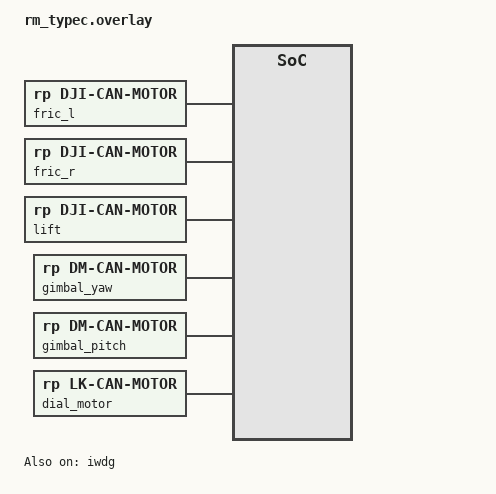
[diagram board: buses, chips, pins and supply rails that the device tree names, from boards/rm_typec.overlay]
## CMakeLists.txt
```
cmake_minimum_required(VERSION 3.24)

set(RP_PROFILE "" CACHE STRING "Conan profile used for host")

if(NOT RP_PROFILE)
    message(FATAL_ERROR "Please set RP_PROFILE in the command line, e.g. -DRP_PROFILE=stm32/stm32-h7")
endif()

find_program(CONAN_EXECUTABLE NAMES conan REQUIRED)
set(CONAN_OUTPUT_DIR "${CMAKE_BINARY_DIR}/conan")

set(CONAN_INSTALL_ARGS
    install "${CMAKE_CURRENT_SOURCE_DIR}"
    --output-folder "${CONAN_OUTPUT_DIR}"
    --profile:host "${RP_PROFILE}"
    --build=missing
)

execute_process(
    COMMAND "${CONAN_EXECUTABLE}" ${CONAN_INSTALL_ARGS}
    WORKING_DIRECTORY "${CMAKE_CURRENT_SOURCE_DIR}"
    RESULT_VARIABLE CONAN_RESULT
    OUTPUT_VARIABLE CONAN_OUTPUT
    ERROR_VARIABLE CONAN_ERROR
)

# 关键： 将conan生成的文件夹添加到CMAKE_PREFIX_PATH中，这样find_package才能找到conan安装的包
list(PREPEND CMAKE_PREFIX_PATH "${CONAN_OUTPUT_DIR}/build/RelWithDebInfo/generators")

if(NOT CONAN_RESULT EQUAL 0)
    message(FATAL_ERROR "conan install failed:\n${CONAN_ERROR}")
endif()

if(NOT BOARD)
    set(BOARD damiao_mc02)
    message("BOARD not defined, use default value: ${BOARD}")
else()
    message("Use BOARD: ${BOARD}")
endif()

# zephyr通过kconfig指定CMAKE_BUILD_TYPE，
# 但是conan在构建之处就需要指定，这里显示设置CMAKE_BUILD_TYPE为RelWithDebInfo
set(CMAKE_BUILD_TYPE RelWithDebInfo)

find_package(Zephyr REQUIRED HINTS $ENV{ZEPHYR_BASE})
find_package(rp-midware REQUIRED)

target_link_libraries(app PRIVATE rp-midware::rp-midware)

# define cmake project
project(breeze-app-template)

target_sources(app PRIVATE
    ./src/main.cpp
)
```

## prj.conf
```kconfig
# 启用传感器驱动
CONFIG_SENSOR=y
CONFIG_BMI08X=y
CONFIG_BMI08X_ACCEL_STREAM=y
CONFIG_BMI08X_GYRO_STREAM=y
# 启用遥控器驱动
CONFIG_REMOTE=y
CONFIG_UART_ASYNC_API=y
CONFIG_DCACHE=n
# 裁判系统 & UI(usart1)
CONFIG_UART_INTERRUPT_DRIVEN=y
CONFIG_UART_ASYNC_API=y
# 电机
CONFIG_CAN=y
CONFIG_BLDCM=y
# DJI 电机 CAN 通常为 1Mbps；
CONFIG_CAN_DEFAULT_BITRATE=1000000
CONFIG_CAN_RX_MANAGER=y
CONFIG_CAN_TX_MANAGER=y
CONFIG_CAN_RX_MANAGER_MSGQ_MONITOR=y
# DJI 心跳自动检测（shared system workqueue）
CONFIG_BLDCM_HEARTBEAT_AUTOCHECK=y
CONFIG_BLDCM_HEARTBEAT_POLL_PERIOD_MS=100
# 看门狗
CONFIG_WATCHDOG=y
CONFIG_IWDG_STM32=y
CONFIG_WDT_DISABLE_AT_BOOT=y   # 阻止驱动 init 时自动安装超时，由 IWDG_Init 接管
# 软件复位
CONFIG_REBOOT=y

# 启用日志
CONFIG_LOG=y
# CONFIG_LOG_MODE_IMMEDIATE=y
CONFIG_LOG_MODE_DEFERRED=y
CONFIG_LOG_PROCESS_THREAD_STACK_SIZE=4096
# 启用CMSIS-DSP库
CONFIG_CMSIS_DSP=y
CONFIG_CMSIS_DSP_MATRIX=y 
# # C++ 支持（重要！）
CONFIG_CPP=y
CONFIG_STD_CPP17=y
# 启用浮点支持
CONFIG_FPU=y
CONFIG_FPU_SHARING=y
# 软件复位
CONFIG_REBOOT=y

#  Enable RTT logging backend
CONFIG_CONSOLE=y
CONFIG_LOG_BACKEND_RTT=y
CONFIG_LOG_BACKEND_UART=n
CONFIG_USE_SEGGER_RTT=y
CONFIG_RTT_CONSOLE=y
CONFIG_UART_CONSOLE=n
CONFIG_SEGGER_RTT_MAX_NUM_UP_BUFFERS=5
CONFIG_SEGGER_RTT_MAX_NUM_DOWN_BUFFERS=2
#用于调试的宏 
CONFIG_DEBUG_OPTIMIZATIONS=y
CONFIG_ASSERT=y
# CONFIG_THREAD_ANALYZER=y//下面三行是线程分析器的配置，可以输出线程的内存占用情况
# CONFIG_THREAD_ANALYZER_AUTO=y
# CONFIG_INIT_STACKS=y
# main线程
CONFIG_MAIN_STACK_SIZE=4096
CONFIG_SYS_CLOCK_TICKS_PER_SEC=1000
```

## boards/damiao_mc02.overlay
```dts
/* This file will automatic applyed when using damiao_mc02 board */
&bmi08x_accel {
    fifo-watermark = <4>;
};

&bmi08x_gyro {
    fifo-watermark = <4>;
};

&usart1 {
    current-speed = <115200>;
};

/ {
    remote: remote0 {
        status = "okay";
        compatible = "rp,remote";
        uart = <&uart5>;
    };
    aliases {
        remote0 = &remote;
    };

    can_rx_mgr1: can_rx_mgr1 {
        compatible = "rp,can-rx-manager";
        status = "okay";
        can-bus = <&fdcan1>;
        label = "can_rx_mgr1";
    };

    can_tx_mgr1: can_tx_mgr1 {
        compatible = "rp,can-tx-manager";
        status = "okay";
        can-bus = <&fdcan1>;
        label = "can_tx_mgr1";
    };

    can_tx_mgr2: can_tx_mgr2 {
        compatible = "rp,can-tx-manager";
        status = "okay";
        can-bus = <&fdcan2>;
        label = "can_tx_mgr2";
    };

    can_rx_mgr2: can_rx_mgr2 {
        compatible = "rp,can-rx-manager";
        status = "okay";
        can-bus = <&fdcan2>;
        label = "can_rx_mgr2";
    };

    chassis_LF:motor1{
        compatible = "rp,dji-can-motor";
        status = "okay";
        can-bus = <&fdcan1>;
        rx-manager = <&can_rx_mgr1>;
        tx-manager = <&can_tx_mgr1>;
        tx-id = <0x200>;
        rx-id = <0x201>;
        motor-type = "M3508";
        label = "chassis_lf";
        control-mode = "torque";
        Tx-feq = <1000>;
        motor-encoder = <8192>;
        motor-transmission-ratio = <19>;
    };

    chassis_LB:motor2{
        compatible = "rp,dji-can-motor";
        status = "okay";
        can-bus = <&fdcan1>;
        rx-manager = <&can_rx_mgr1>;
        tx-manager = <&can_tx_mgr1>;
        tx-id = <0x200>;
        rx-id = <0x202>;
        motor-type = "M3508";
        label = "chassis_lb";
        control-mode = "torque";
        Tx-feq = <1000>;
        motor-encoder = <8192>;
        motor-transmission-ratio = <19>;
    };

    chassis_RF:motor3{
        compatible = "rp,dji-can-motor";
        status = "okay";
        can-bus = <&fdcan1>;
        rx-manager = <&can_rx_mgr1>;
        tx-manager = <&can_tx_mgr1>;
        tx-id = <0x200>;
        rx-id = <0x203>;
        motor-type = "M3508";
        label = "chassis_rf";
        control-mode = "torque";
        Tx-feq = <1000>;
        motor-encoder = <8192>;
        motor-transmission-ratio = <19>;
    };

    chassis_RB:motor4{
        compatible = "rp,dji-can-motor";
        status = "okay";
        can-bus = <&fdcan1>;
        rx-manager = <&can_rx_mgr1>;
        tx-manager = <&can_tx_mgr1>;
        tx-id = <0x200>;
        rx-id = <0x204>;
        motor-type = "M3508";
        label = "chassis_rb";
        control-mode = "torque";
        Tx-feq = <1000>;
        motor-encoder = <8192>;
        motor-transmission-ratio = <19>;
    };
};

&fdcan1 {
    bosch,mram-cfg = <0x0 1 0 22 0 0 22 22>;
};

&fdcan2 {
    bosch,mram-cfg = <0xd14 1 0 22 0 0 22 22>;
};

&fdcan3 {
    bosch,mram-cfg = <0x1a28 1 0 22 0 0 22 22>;
};

/ {
    aliases {
        watchdog0 = &iwdg;  /* 将 watchdog0 指向 IWDG 硬件 */
    };
};

&iwdg {
    status = "okay"; /* 启用独立看门狗 IWDG */
};
```

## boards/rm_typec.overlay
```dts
/* This file will automatic applyed when using rm_typec board */
&spi1 {
interrupts = <35 0>;
};

&bmi08x_accel {
    fifo-watermark = <3>;
};

&bmi08x_gyro {
    fifo-watermark = <3>;
};

/ {

    can_rx_mgr1: can_rx_mgr1 {
        compatible = "rp,can-rx-manager";
        status = "okay";
        can-bus = <&can1>;
        label = "can_rx_mgr1";
    };

    can_tx_mgr1: can_tx_mgr1 {
        compatible = "rp,can-tx-manager";
        status = "okay";
        can-bus = <&can1>;
        label = "can_tx_mgr1";
    };
    can_rx_mgr2: can_rx_mgr2 {
            compatible = "rp,can-rx-manager";
            status = "okay";
            can-bus = <&can2>;
            label = "can_rx_mgr2";
        };
    can_tx_mgr2: can_tx_mgr2 {
        compatible = "rp,can-tx-manager";
        status = "okay";
        can-bus = <&can2>;
        label = "can_tx_mgr2";
    };

    fric_L:motor1{
        compatible = "rp,dji-can-motor";
        status = "okay";
        can-bus = <&can1>;
        rx-manager = <&can_rx_mgr1>;
        tx-manager = <&can_tx_mgr1>;
        tx-id = <0x200>;
        rx-id = <0x201>;
        motor-type = "M3508";
        label = "fric_l";
        control-mode = "torque";
        Tx-feq = <1000>;
        motor-encoder = <8192>;
        motor-transmission-ratio = <1>;
    };

    fric_R:motor2{
        compatible = "rp,dji-can-motor";
        status = "okay";
        can-bus = <&can1>;
        rx-manager = <&can_rx_mgr1>;
        tx-manager = <&can_tx_mgr1>;
        tx-id = <0x200>;
        rx-id = <0x202>;
        motor-type = "M3508";
        label = "fric_r";
        control-mode = "torque";
        Tx-feq = <1000>;
        motor-encoder = <8192>;
        motor-transmission-ratio = <1>;
    };

    lift:motor3{
        compatible = "rp,dji-can-motor";
        status = "okay";
        can-bus = <&can1>;
        rx-manager = <&can_rx_mgr1>;
        tx-manager = <&can_tx_mgr1>;
        tx-id = <0x200>;
        rx-id = <0x204>;
        motor-type = "M2006";
        label = "lift";
        control-mode = "torque";
        Tx-feq = <1000>;
        motor-encoder = <8192>;
        motor-transmission-ratio = <36>;
    };

    gimbal_YAW:motor4{
        compatible = "rp,dm-can-motor";
        status = "okay";
        can-bus = <&can2>;
        rx-manager = <&can_rx_mgr2>;
        tx-manager = <&can_tx_mgr2>;
        tx-id = <0x02>;
        rx-id = <0x12>;
        motor-type = "DM43";
        label = "gimbal_yaw";
        control-mode = "MIT";
        Tx-feq = <1000>;
        motor-encoder = <65535>;
        motor-transmission-ratio = <9>;
        vel-max = <45000>;          // 这里的整数都要除以1000才是实际的上限，必须与上位机的值对应
        tq-max = <54000>;
        pos-max = <3141>;
        mit-params-limit = <500000 0 5000 0>;
    };
        
    gimbal_PITCH:motor5{
        compatible = "rp,dm-can-motor";
        status = "okay";
        can-bus = <&can1>;
        rx-manager = <&can_rx_mgr1>;
        tx-manager = <&can_tx_mgr1>;
        tx-id = <0x01>;
        rx-id = <0x11>;
        motor-type = "DM43";
        label = "gimbal_pitch";
        control-mode = "MIT"; // 这里的整数都要除以1000才是实际的上限，必须与上位机的值对应
        Tx-feq = <1000>;
        motor-encoder = <65535>;
        motor-transmission-ratio = <9>;
        vel-max = <45000>;          // 这里的整数都要除以1000才是实际的上限，必须与上位机的值对应
        tq-max = <54000>;
        pos-max = <3141>;
        mit-params-limit = <500000 0 5000 0>;
    };

    dial_motor:lk_motor6{
        compatible = "rp,lk-can-motor";
        status = "okay";
        can-bus = <&can1>;
        rx-manager = <&can_rx_mgr1>;
        tx-manager = <&can_tx_mgr1>;
        tx-id = <0x141>;
        rx-id = <0x141>;
        motor-type = "MG";
        label = "dial_motor";
        control-mode = "single_control";
        Tx-feq = <1000>;
        motor-encoder = <65532>;
        motor-transmission-ratio = <1>;     //减速比在拨盘处已经被包含，拨盘电机不需要再设置减速比
    };

    aliases {
        watchdog0 = &iwdg;  /* 将 watchdog0 指向 IWDG 硬件 */
    };
};

&iwdg {
    status = "okay"; /* 启用独立看门狗 IWDG */
};
```

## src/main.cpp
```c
#include <zephyr/kernel.h>
#include <zephyr/device.h>
#include <zephyr/devicetree.h>
#include <zephyr/drivers/uart.h>
#include <zephyr/logging/log.h>
#include <zephyr/net_buf.h>
#include <stdint.h>

// 喵板 STM32H723
#include <zephyr/linker/section_tags.h>   // 提供 __nocache


/* change this to any other UART peripheral if desired */
#define UART_DEVICE_NODE DT_CHOSEN(zephyr_vofa_uart)
static const struct device *uart = DEVICE_DT_GET(UART_DEVICE_NODE);

LOG_MODULE_REGISTER(vofa_uart, LOG_LEVEL_DBG);


/* ------------------------------ 发送内存池和队列 -------------------------------------- */

// C板 STM32F40
// /* 最多排队 8 个数据包，每个包最大 32 字节（根据需要调整） */
// NET_BUF_POOL_DEFINE(tx_pool, 32, 64, 0, NULL);

// 喵板 STM32H723
/* ---------- 不可缓存内存池 ---------- */
#define TX_POOL_COUNT 32
#define TX_POOL_SIZE  64
#define TX_USER_DATA  0

/* ---------- 手动模拟 NET_BUF_POOL_FIXED_DEFINE ---------- */

/* 1. 控制块数组（普通内存） */
struct _net_buf_tx_pool {
    uint8_t b[sizeof(struct net_buf)];
    uint8_t ud[TX_USER_DATA];
} __net_buf_align;

static struct _net_buf_tx_pool _net_buf_tx_pool[TX_POOL_COUNT] __noinit;

/* 2. 数据数组（不可缓存内存） */
static uint8_t __nocache __aligned(4) net_buf_data_tx_pool[TX_POOL_COUNT][TX_POOL_SIZE] __net_buf_align;

/* 3. 固定池描述 */
static const struct net_buf_pool_fixed net_buf_fixed_tx_pool = {
    .data_pool = (uint8_t *)net_buf_data_tx_pool,
};

/* 4. 分配器 */
static const struct net_buf_data_alloc net_buf_fixed_alloc_tx_pool = {
    .cb = &net_buf_fixed_cb,
    .alloc_data = (void *)&net_buf_fixed_tx_pool,
    .max_alloc_size = TX_POOL_SIZE,
};

/* 5. 注册池 */
static STRUCT_SECTION_ITERABLE(net_buf_pool, tx_pool) =
    NET_BUF_POOL_INITIALIZER(tx_pool, &net_buf_fixed_alloc_tx_pool,
                             _net_buf_tx_pool, TX_POOL_COUNT, TX_USER_DATA, NULL);
/* -------------------------------------------------------------------------------------- */


/* 发送队列，存放排队等待的数据包 */
static K_FIFO_DEFINE(tx_fifo);

/* 当前正在通过 DMA 发送的数据包 */
static struct net_buf *tx_pending;

/* ---------- 异步发送完成回调 ---------- */
static void uart_callback(const struct device *dev, struct uart_event *evt,
                          void *user_data)
{   
    switch (evt->type) 
    {
        case UART_TX_DONE:
            LOG_DBG("TX complete %p", tx_pending);

            /* 释放已完成发送的包 */
            net_buf_unref(tx_pending);
            tx_pending = NULL;

            /* 检查队列中是否有下一个包，有则立即启动发送 */
            {
                struct net_buf *buf = static_cast<struct net_buf *>(k_fifo_get(&tx_fifo, K_NO_WAIT));
                if (buf != NULL) {
                    int key = irq_lock();
                    int ret = uart_tx(dev, buf->data, buf->len, SYS_FOREVER_US);
                    if (ret == 0) {
                        tx_pending = buf;
                    }
                    irq_unlock(key);

                    if (ret != 0) {
                        net_buf_unref(buf);   /* 发送失败，丢弃 */
                    }
                }
            }
            break;

        case UART_TX_ABORTED:
            LOG_DBG("TX aborted %p", tx_pending);
            net_buf_unref(tx_pending);
            tx_pending = NULL;
            break;

        default:
            break;
    }
}

/* ---------- VOFA+ 发送接口（非阻塞） ---------- */
void vofa_send_floats(const struct device *dev, const float *data, size_t count)
{
    /* 从内存池申请一个数据包 */
    struct net_buf *buf = net_buf_alloc(&tx_pool, K_NO_WAIT);
    if (!buf) {
        return;   /* 池子满了，直接丢弃，保证实时性 */
    }

    /* 将浮点数据填入包中 */
    net_buf_add_mem(buf, data, count * sizeof(float));

    /* 添加 VOFA+ JustFloat 帧尾（+Inf） */
    static const uint8_t tail[4] = {0x00, 0x00, 0x80, 0x7F};
    net_buf_add_mem(buf, tail, sizeof(tail));

    /*
     * 用中断锁保护 tx_pending 赋值，防止以下竞态条件：
     *
     *   uart_tx() 返回 0 后 DMA 极快完成 → 回调触发
     *   → 回调释放旧的 tx_pending → tx_pending = NULL
     *   → 主线程才执行 tx_pending = buf（此时已无人能释放它）
     *
     * 锁内 uart_tx() + tx_pending 赋值是原子的，回调无法插入。
     */
    int key = irq_lock();

    int ret = uart_tx(dev, buf->data, buf->len, SYS_FOREVER_US);
    if (ret == 0) {
        tx_pending = buf;          /* 在锁内赋值，回调无法插队 */
    }

    irq_unlock(key);

    if (ret == 0)
    {
        LOG_DBG("TX started %p", buf);
    }
    else if (ret == -EBUSY)
    {
        LOG_DBG("UART busy, queuing %p", buf);
        k_fifo_put(&tx_fifo, buf); /* DMA 忙，放入队列等待回调自动发送 */
    }
    else {
        LOG_ERR("UART TX failed with error: %d", ret);
        net_buf_unref(buf);        /* 其他错误，丢弃该包 */
    }
}

/* ---------- 初始化串口 ---------- */
static int uart_init(void)
{
    if (!device_is_ready(uart)) 
    {
        LOG_ERR("UART device not ready %p", uart);
        return -ENODEV;
    }

    /* 注册异步回调 */
    uart_callback_set(uart, uart_callback, NULL);

    return 0;
}


int main(void)
{
    if (uart_init() < 0) 
    {
        return -1;
    }
    LOG_INF("VOFA+ UART sender started\n");
    
    int i = 0;  // 示例数据

    while (1) 
    {
        // 打包一帧 JustFloat 数据：3 个 float（时间戳、数据1、数据2）
        // 一个数据包最多放 15 个数据
        float vofa_data[] = {
            (float)k_uptime_get_32() / 1000.0f, // 时间戳（秒）
            (float)i,                           // 示例值
            (float)(2 * i)                      // 示例值的两倍
        };

        vofa_send_floats(uart, vofa_data, sizeof(vofa_data) / sizeof(float));

        i++;    // 更新示例数据

        k_sleep(K_MSEC(1));
    }

    return 0;
}
```
